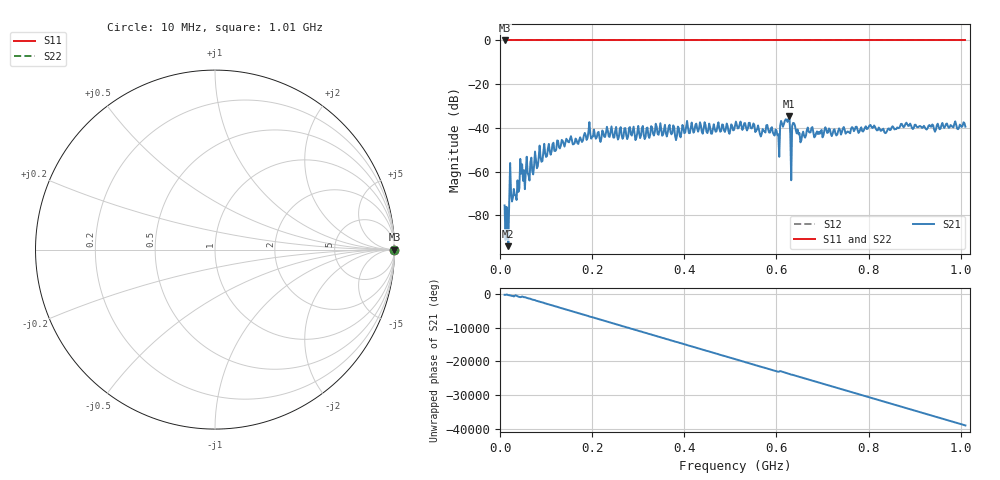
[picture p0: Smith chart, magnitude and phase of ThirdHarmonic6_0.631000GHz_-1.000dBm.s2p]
! 8/15/2025 8:49:44 PM
! C:\ANRITSUVNA\TEMP\TEMP.S2P
! CHANNEL.1
! TR.MEASUREMENT
! RAW.DATA
! RF.CORRECTION.OFF
! AVERAGING.OFF
! IF.BANDWIDTH: 5KHZ
! SWEEPTYPE:  FREQ.SWEEP(Linear)
! Reference Plane Port Info
! PORT:  PORT1  PORT2
! DISTANCE:  0  m  0  m
! TIME:  0  s  0  s
! PHASE.OFFSET:  0  deg.  0  deg.
! LOSS:  0  dB  0  dB
! REF.LOSS:  0  dB  0  dB
! REF.FREQ:  0  Hz  0  Hz
! Power Info
! POWER:  -20  dBm  -20  dBm
! EFF.POWER:  -20  dBm  -20  dBm
! SOURCE.ATTEN:  0  dB  0  dB
! TEST.ATTEN:  0  dB  0  dB
# GHZ S RI R 50.0
! FREQ.GHZ  S11RE  S11IM  S21RE  S21IM  S12RE  S12IM  S22RE  S22IM
!; PortSelection: Port_12
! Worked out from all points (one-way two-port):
!   501 points, 10 MHz to 1.01 GHz, reference 50 ohm
!   highest |S21| = -34.74 dB at 628 MHz (marker M1); lowest = -94.0 dB at 18 MHz (marker M2)
!   lowest |S11| = 0.0 dB at 10 MHz (marker M3)
!   |S11| at or under -10 dB: nowhere
!   |S22| runs from 0.0 to 0.0 dB; largest |S21 - S12| = 1
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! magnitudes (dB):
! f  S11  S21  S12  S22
! 10 MHz  0.0  -75.4  0.0  0.0
! 16 MHz  0.0  -78.1  0.0  0.0
! 18 MHz  0.0  -94.0  0.0  0.0
! 26 MHz  0.0  -73.6  0.0  0.0
! 28 MHz  0.0  -71.9  0.0  0.0
! 38 MHz  0.0  -63.9  0.0  0.0
! 48 MHz  0.0  -56.6  0.0  0.0
! 50 MHz  0.0  -64.1  0.0  0.0
! 100 MHz  0.0  -53.3  0.0  0.0
! 178 MHz  0.0  -46.4  0.0  0.0
! 344 MHz  0.0  -43.1  0.0  0.0
! 510 MHz  0.0  -39.1  0.0  0.0
! 582 MHz  0.0  -40.6  0.0  0.0
! 602 MHz  0.0  -43.3  0.0  0.0
! 624 MHz  0.0  -37.2  0.0  0.0
! 628 MHz  0.0  -34.7  0.0  0.0
! 634 MHz  0.0  -39.2  0.0  0.0
! 638 MHz  0.0  -37.8  0.0  0.0
! 652 MHz  0.0  -46.6  0.0  0.0
! 678 MHz  0.0  -39.6  0.0  0.0
! 844 MHz  0.0  -40.2  0.0  0.0
! 1.01 GHz  0.0  -39.4  0.0  0.0
